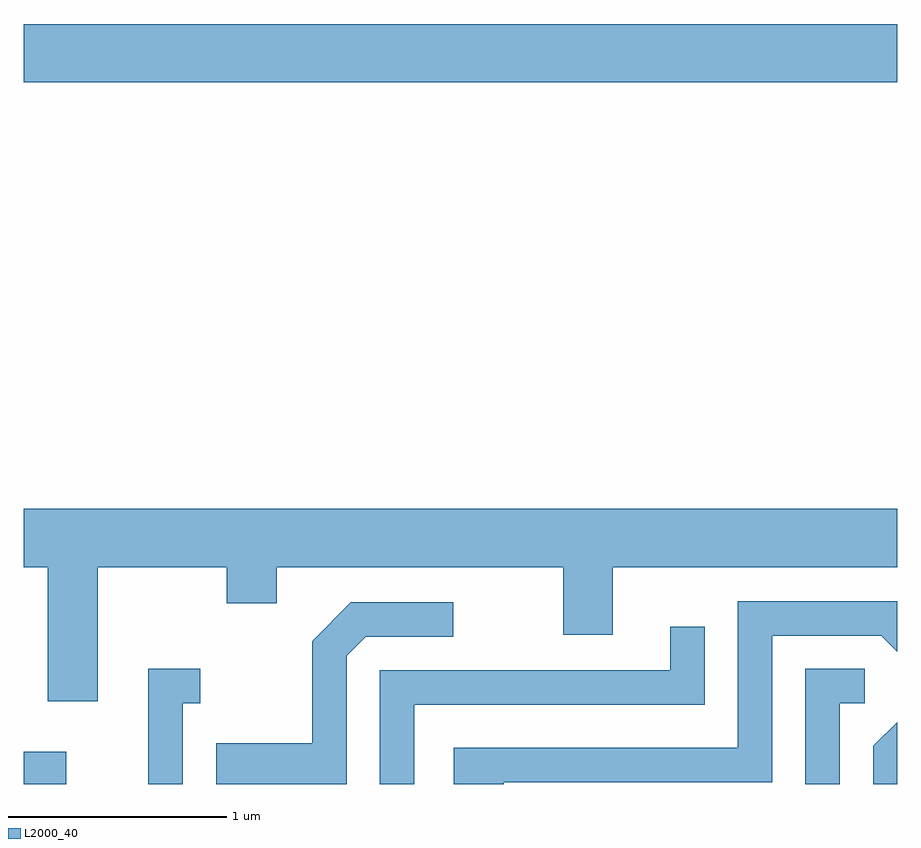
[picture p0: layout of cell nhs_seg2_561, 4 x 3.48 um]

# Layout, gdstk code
import gdstk
lib = gdstk.Library(unit=1e-6, precision=1e-09)
def R(c, l, rs):  # rectangles x0, y0, x1, y1
    for r in rs: c.add(gdstk.rectangle(r[:2], r[2:], *l))
def P(c, l, *ps):  # polygons
    for p in ps: c.add(gdstk.Polygon(p, *l))
L2000_40 = (2000, 40)

nhs_seg2_561 = lib.new_cell('nhs_seg2_561')
R(nhs_seg2_561, L2000_40, [(201.611,1011.802,201.804,1011.949), (201.611,1015.016,205.611,1015.284)])
P(nhs_seg2_561, L2000_40, [(201.949,1012.796),(202.541,1012.796),(202.541,1012.631),(202.769,1012.631),(202.769,1012.796),(204.081,1012.796),(204.081,1012.486),(204.309,1012.486),(204.309,1012.796),(205.611,1012.796),(205.611,1013.064),(201.611,1013.064),(201.611,1012.796),(201.721,1012.796),(201.721,1012.181),(201.949,1012.181)],
  [(203.809,1011.811),(205.039,1011.811),(205.039,1012.481),(205.539,1012.481),(205.611,1012.409),(205.611,1012.639),(204.881,1012.639),(204.881,1011.969),(203.581,1011.969),(203.581,1011.802),(203.809,1011.802)],
  [(203.089,1012.389),(203.177,1012.476),(203.578,1012.476),(203.578,1012.634),(203.109,1012.634),(202.931,1012.457),(202.931,1011.989),(202.491,1011.989),(202.491,1011.802),(203.089,1011.802)],
  [(203.399,1012.166),(204.729,1012.166),(204.729,1012.523),(204.571,1012.523),(204.571,1012.324),(203.241,1012.324),(203.241,1011.802),(203.399,1011.802)],
  [(202.339,1012.171),(202.418,1012.171),(202.418,1012.329),(202.181,1012.329),(202.181,1011.802),(202.339,1011.802)],
  [(205.349,1012.171),(205.463,1012.171),(205.463,1012.329),(205.191,1012.329),(205.191,1011.802),(205.349,1011.802)],
  [(205.611,1012.086),(205.501,1011.977),(205.501,1011.802),(205.611,1011.802)])

lib.write_gds('nhs_seg2_561.gds')
